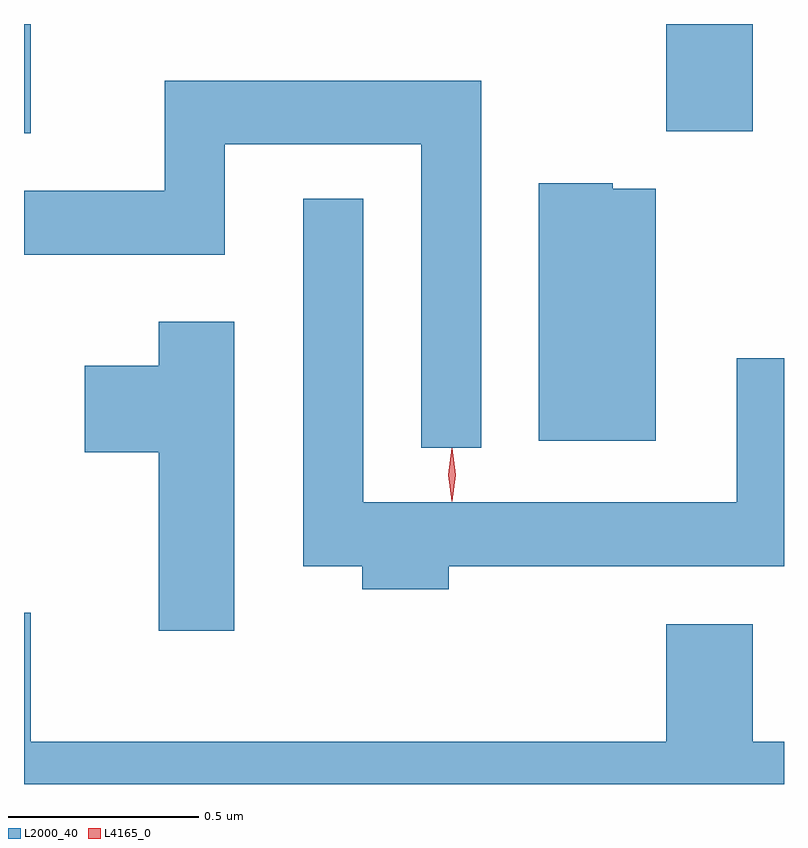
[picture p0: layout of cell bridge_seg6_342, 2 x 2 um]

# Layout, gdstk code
import gdstk
lib = gdstk.Library(unit=1e-6, precision=1e-09)
def R(c, l, rs):  # rectangles x0, y0, x1, y1
    for r in rs: c.add(gdstk.rectangle(r[:2], r[2:], *l))
def P(c, l, *ps):  # polygons
    for p in ps: c.add(gdstk.Polygon(p, *l))
L2000_40 = (2000, 40)
L4165_0 = (4165, 0)

bridge_seg6_342 = lib.new_cell('bridge_seg6_342')
R(bridge_seg6_342, L2000_40, [(1305.701,1531.926,1305.719,1532.213), (1307.391,1531.931,1307.619,1532.213)])
P(bridge_seg6_342, L2000_40, [(1306.904,1532.064),(1306.071,1532.064),(1306.071,1531.774),(1305.701,1531.774),(1305.701,1531.606),(1306.229,1531.606),(1306.229,1531.896),(1306.746,1531.896),(1306.746,1531.098),(1306.904,1531.098)],
  [(1307.364,1531.779),(1307.25,1531.779),(1307.25,1531.794),(1307.056,1531.794),(1307.056,1531.116),(1307.364,1531.116)],
  [(1306.819,1530.786),(1307.701,1530.786),(1307.701,1531.333),(1307.576,1531.333),(1307.576,1530.954),(1306.594,1530.954),(1306.594,1531.753),(1306.436,1531.753),(1306.436,1530.786),(1306.591,1530.786),(1306.591,1530.726),(1306.819,1530.726)],
  [(1306.254,1531.429),(1306.056,1531.429),(1306.056,1531.314),(1305.861,1531.314),(1305.861,1531.086),(1306.056,1531.086),(1306.056,1530.616),(1306.254,1530.616)],
  [(1307.701,1530.324),(1307.619,1530.324),(1307.619,1530.634),(1307.391,1530.634),(1307.391,1530.324),(1305.719,1530.324),(1305.719,1530.664),(1305.701,1530.664),(1305.701,1530.213),(1307.701,1530.213)])
P(bridge_seg6_342, L4165_0, [(1306.827,1530.959),(1306.826,1530.96),(1306.817,1531.026),(1306.826,1531.093),(1306.827,1531.093),(1306.828,1531.093),(1306.837,1531.026),(1306.828,1530.96)],
  [(1306.826,1530.957),(1306.817,1531.027),(1306.826,1531.096),(1306.827,1531.096),(1306.828,1531.096),(1306.837,1531.027),(1306.828,1530.957),(1306.827,1530.957)])

lib.write_gds('bridge_seg6_342.gds')
